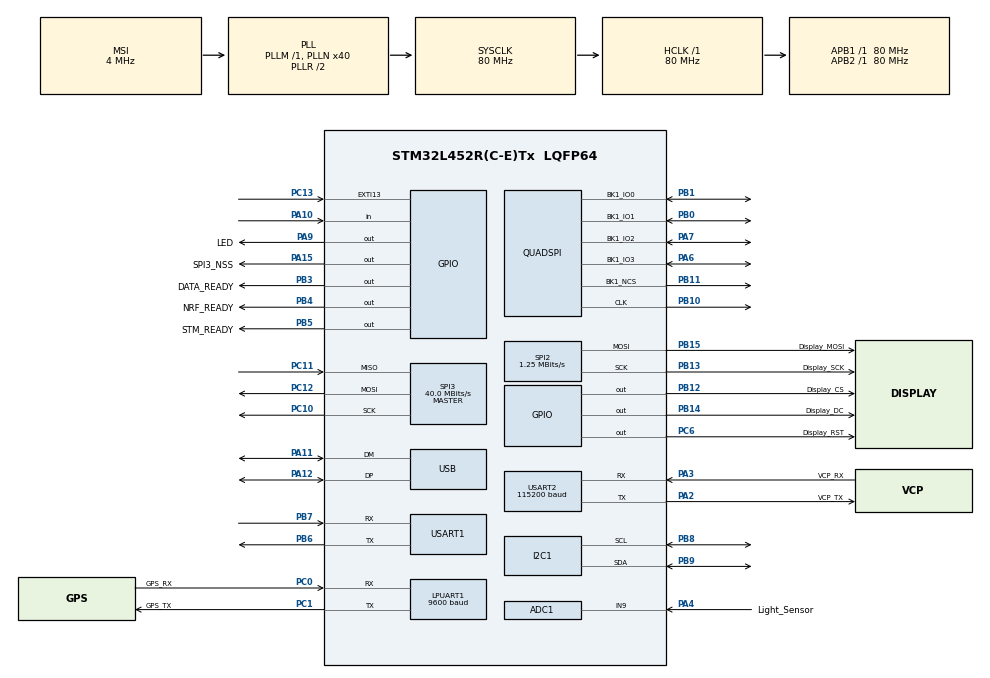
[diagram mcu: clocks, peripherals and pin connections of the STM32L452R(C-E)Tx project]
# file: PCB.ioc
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ADC1.Channel-3\#ChannelRegularConversion=ADC_CHANNEL_9
ADC1.NbrOfConversionFlag=1
ADC1.OffsetNumber-3\#ChannelRegularConversion=ADC_OFFSET_NONE
ADC1.Rank-3\#ChannelRegularConversion=1
ADC1.SamplingTime-3\#ChannelRegularConversion=ADC_SAMPLETIME_2CYCLES_5
ADC1.master=1
Dma.LPUART_RX.1.Direction=DMA_PERIPH_TO_MEMORY
Dma.LPUART_RX.1.Instance=DMA2_Channel7
Dma.LPUART_RX.1.MemDataAlignment=DMA_MDATAALIGN_BYTE
Dma.LPUART_RX.1.MemInc=DMA_MINC_ENABLE
Dma.LPUART_RX.1.Mode=DMA_CIRCULAR
Dma.LPUART_RX.1.PeriphDataAlignment=DMA_PDATAALIGN_BYTE
Dma.LPUART_RX.1.PeriphInc=DMA_PINC_DISABLE
Dma.LPUART_RX.1.Priority=DMA_PRIORITY_LOW
Dma.Request0=SPI2_TX
Dma.Request1=LPUART_RX
Dma.SPI2_TX.0.Direction=DMA_MEMORY_TO_PERIPH
Dma.SPI2_TX.0.Instance=DMA1_Channel5
Dma.SPI2_TX.0.MemDataAlignment=DMA_MDATAALIGN_BYTE
Dma.SPI2_TX.0.MemInc=DMA_MINC_ENABLE
Dma.SPI2_TX.0.Mode=DMA_NORMAL
Dma.SPI2_TX.0.PeriphDataAlignment=DMA_PDATAALIGN_BYTE
Dma.SPI2_TX.0.PeriphInc=DMA_PINC_DISABLE
Dma.SPI2_TX.0.Priority=DMA_PRIORITY_HIGH
I2C1.Timing=0x10D19CE4
LPUART1.BaudRate=9600
LPUART1.WordLength=UART_WORDLENGTH_8B
Mcu.Family=STM32L4
Mcu.Name=STM32L452R(C-E)Tx
Mcu.Package=LQFP64
NVIC.DMA1_Channel5_IRQn=true\:0\:0\:false\:false\:true\:false\:true\:true
NVIC.DMA2_Channel7_IRQn=true\:0\:0\:false\:false\:true\:false\:true\:true
NVIC.LPUART1_IRQn=true\:0\:0\:false\:false\:true\:true\:true\:true
NVIC.PriorityGroup=NVIC_PRIORITYGROUP_4
PA10.Signal=GPIO_Input
PA11.Mode=Device
PA11.Signal=USB_DM
PA12.Mode=Device
PA12.Signal=USB_DP
PA13\ (JTMS/SWDIO).Mode=Serial_Wire
PA13\ (JTMS/SWDIO).Signal=SYS_JTMS-SWDIO
PA14\ (JTCK/SWCLK).Mode=Serial_Wire
PA14\ (JTCK/SWCLK).Signal=SYS_JTCK-SWCLK
PA15\ (JTDI).GPIO_Label=SPI3_NSS
PA15\ (JTDI).Signal=GPIO_Output
PA2.GPIO_Label=VCP_TX
PA2.Mode=Asynchronous
PA2.Signal=USART2_TX
PA3.GPIO_Label=VCP_RX
PA3.Mode=Asynchronous
PA3.Signal=USART2_RX
PA4.GPIO_Label=Light_Sensor
PA4.Signal=ADCx_IN9
PA6.Mode=Single Bank 1
PA6.Signal=QUADSPI_BK1_IO3
PA7.Mode=Single Bank 1
PA7.Signal=QUADSPI_BK1_IO2
PA9.GPIO_Label=LED
PA9.Signal=GPIO_Output
PB0.Mode=Single Bank 1
PB0.Signal=QUADSPI_BK1_IO1
PB1.Mode=Single Bank 1
PB1.Signal=QUADSPI_BK1_IO0
PB10.Mode=Single Bank 1
PB10.Signal=QUADSPI_CLK
PB11.Mode=Single Bank 1
PB11.Signal=QUADSPI_BK1_NCS
PB12.GPIO_Label=Display_CS
PB12.Signal=GPIO_Output
PB13.GPIO_Label=Display_SCK
PB13.Mode=TX_Only_Simplex_Unidirect_Master
PB13.Signal=SPI2_SCK
PB14.GPIO_Label=Display_DC
PB14.Signal=GPIO_Output
PB15.GPIO_Label=Display_MOSI
PB15.Mode=TX_Only_Simplex_Unidirect_Master
PB15.Signal=SPI2_MOSI
PB3\ (JTDO/TRACESWO).GPIO_Label=DATA_READY
PB3\ (JTDO/TRACESWO).Signal=GPIO_Output
PB4\ (NJTRST).GPIO_Label=NRF_READY
PB4\ (NJTRST).Signal=GPIO_Output
PB5.GPIO_Label=STM_READY
PB5.Signal=GPIO_Output
PB6.Mode=Asynchronous
PB6.Signal=USART1_TX
PB7.Mode=Asynchronous
PB7.Signal=USART1_RX
PB8.Mode=I2C
PB8.Signal=I2C1_SCL
PB9.Mode=I2C
PB9.Signal=I2C1_SDA
PC0.GPIO_Label=GPS_RX
PC0.Mode=Asynchronous
PC0.Signal=LPUART1_RX
PC1.GPIO_Label=GPS_TX
PC1.Mode=Asynchronous
PC1.Signal=LPUART1_TX
PC10.Mode=Full_Duplex_Master
PC10.Signal=SPI3_SCK
PC11.Mode=Full_Duplex_Master
PC11.Signal=SPI3_MISO
PC12.Mode=Full_Duplex_Master
PC12.Signal=SPI3_MOSI
PC13.Signal=GPXTI13
PC6.GPIO_Label=Display_RST
PC6.Signal=GPIO_Output
ProjectManager.HeapSize=0x200
ProjectManager.StackSize=0x400
ProjectManager.TargetToolchain=STM32CubeIDE
RCC.ADCFreq_Value=48000000
RCC.AHBFreq_Value=80000000
RCC.APB1Freq_Value=80000000
RCC.APB1TimFreq_Value=80000000
RCC.APB2Freq_Value=80000000
RCC.APB2TimFreq_Value=80000000
RCC.CortexFreq_Value=80000000
RCC.HCLKFreq_Value=80000000
RCC.HSE_VALUE=8000000
RCC.HSI48_VALUE=48000000
RCC.HSI_VALUE=16000000
RCC.LPUART1CLockSelection=RCC_LPUART1CLKSOURCE_HSI
RCC.LSE_VALUE=32768
RCC.MSI_VALUE=4000000
RCC.PLLN=40
RCC.PLLSAI1N=24
RCC.SYSCLKFreq_VALUE=80000000
RCC.SYSCLKSource=RCC_SYSCLKSOURCE_PLLCLK
RCC.USBFreq_Value=48000000
RCC.VCOOutputFreq_Value=160000000
SH.ADCx_IN9.0=ADC1_IN9,IN9-Single-Ended
SPI2.BaudRatePrescaler=SPI_BAUDRATEPRESCALER_64
SPI2.CalculateBaudRate=1.25 MBits/s
SPI2.DataSize=SPI_DATASIZE_8BIT
SPI2.Direction=SPI_DIRECTION_2LINES
SPI2.Mode=SPI_MODE_MASTER
SPI2.VirtualType=VM_MASTER
SPI3.CalculateBaudRate=40.0 MBits/s
SPI3.Direction=SPI_DIRECTION_2LINES
SPI3.Mode=SPI_MODE_MASTER
SPI3.VirtualType=VM_MASTER
USART1.VirtualMode-Asynchronous=VM_ASYNC
USART2.BaudRate=115200
USART2.VirtualMode-Asynchronous=VM_ASYNC
board=custom

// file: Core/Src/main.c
/* USER CODE BEGIN Header */
/**
  ******************************************************************************
  * @file           : main.c
  * @brief          : Main program body
  ******************************************************************************
  * @attention
  *
  * Copyright (c) 2026 STMicroelectronics.
  * All rights reserved.
  *
  * This software is licensed under terms that can be found in the LICENSE file
  * in the root directory of this software component.
  * If no LICENSE file comes with this software, it is provided AS-IS.
  *
  ******************************************************************************
  */
/* USER CODE END Header */
#include "main.h"

/* USER CODE BEGIN Includes */
#include "ssd1306_fonts.h"
#include <string.h>
#include <stdio.h>
#include "ssd1306.h"
#include <stdlib.h>
#include "gps.h"
/* USER CODE END Includes */

/* USER CODE BEGIN PD */
uint16_t adcLight = 0;

extern uint32_t total_time;
extern uint32_t time_since_update;
extern float distance_traveled;
extern uint32_t last_update;
extern float distance_m(float lat1, float lon1,
        float lat2, float lon2);

// nav vars
char nav_rx; // nav byte
char nav_buffer[128];
int nav_idx = 0;
char nav_c;
int done;
int instr_idx = 0;
float dist_to_wp;

#define MAX_WAYPOINTS 200
#define MAX_STREET_LEN 32
#define MAX_DIR_LEN 16
#define MAX_DIST_LEN 16

float lat[MAX_WAYPOINTS];
float lon[MAX_WAYPOINTS];
char direction[MAX_WAYPOINTS][MAX_DIR_LEN];
char street[MAX_WAYPOINTS][MAX_STREET_LEN];
char distance_to_turn[MAX_WAYPOINTS][MAX_DIST_LEN];

int waypoint_count = 0;
int arrived_flag = 0;
int first_run = 1;
static int scroll_x = 128; // right edge

int final_time = 0;
float final_dist = 0.0;

//extern UART_HandleTypeDef hlpuart1; // might not need

uint8_t rx_byte;

// 8x8 bitmap for right arrow
uint8_t arrow_right[8] = {
    0b00010000,
    0b00011000,
    0b00001100,
    0b11111110,
    0b11111110,
    0b00001100,
    0b00011000,
    0b00010000
};

uint8_t arrow_left[8] = {
    0b00001000,
    0b00011000,
    0b00110000,
    0b01111111,
    0b01111111,
    0b00110000,
    0b00011000,
    0b00001000
};

// 8x8 bitmap for straight/up arrow
uint8_t arrow_up[8] = {
    0b00011000,
    0b00111100,
    0b01111110,
    0b00011000,
    0b00011000,
    0b00011000,
    0b00011000,
    0b00000000
};
/* USER CODE END PD */

ADC_HandleTypeDef hadc1;

I2C_HandleTypeDef hi2c1;

UART_HandleTypeDef hlpuart1; // might not need?
UART_HandleTypeDef huart1;
UART_HandleTypeDef huart2;
DMA_HandleTypeDef hdma_lpuart_rx;

QSPI_HandleTypeDef hqspi;

SPI_HandleTypeDef hspi2;
SPI_HandleTypeDef hspi3;
DMA_HandleTypeDef hdma_spi2_tx;

PCD_HandleTypeDef hpcd_USB_FS;

void SystemClock_Config(void);
void PeriphCommonClock_Config(void);
static void MX_GPIO_Init(void);
static void MX_DMA_Init(void);
static void MX_SPI2_Init(void);
static void MX_I2C1_Init(void);
static void MX_LPUART1_UART_Init(void);
static void MX_USART1_UART_Init(void);
static void MX_USART2_UART_Init(void);
static void MX_QUADSPI_Init(void);
static void MX_SPI3_Init(void);
static void MX_USB_PCD_Init(void);
static void MX_ADC1_Init(void);
/* USER CODE BEGIN PFP */

void Display_Write(uint8_t cmd) {
    HAL_GPIO_WritePin(DISP_DC_PORT, DISP_DC, GPIO_PIN_RESET); // command mode
    HAL_GPIO_WritePin(DISP_CS_PORT, DISP_CS, GPIO_PIN_RESET); // select display
    HAL_SPI_Transmit(&hspi2, &cmd, 1, HAL_MAX_DELAY); // send command
    HAL_GPIO_WritePin(DISP_CS_PORT, DISP_CS, GPIO_PIN_SET); // deselect display
}

void ReadSensors() {
	// need to reconfigure every time to use blocking conversion; no DMA somehow
	HAL_ADC_Start(&hadc1);
	HAL_ADC_PollForConversion(&hadc1, HAL_MAX_DELAY);
	adcLight = HAL_ADC_GetValue(&hadc1);
	HAL_ADC_Stop(&hadc1);
}

void Update_Brightness(uint32_t adcLight)
{
    const uint32_t ADC_DARK  = 1300;
    const uint32_t ADC_BRIGHT = 1400;

    const uint8_t BRIGHTNESS_MIN = 0x00;  // calibrate
    const uint8_t BRIGHTNESS_MAX = 0xFF;

    uint8_t brightness;

    if (adcLight <= ADC_DARK)
    {
    	brightness = BRIGHTNESS_MIN;
    }
    else if (adcLight >= ADC_BRIGHT)
    {
        brightness = BRIGHTNESS_MAX;
    }
    else
    {
        brightness = BRIGHTNESS_MIN + (uint8_t)((adcLight - ADC_DARK) * (BRIGHTNESS_MAX - BRIGHTNESS_MIN) /
                (ADC_BRIGHT - ADC_DARK)); // could optimize
    }

    Display_Write(0x81); // update brightness
    Display_Write(brightness); // update to level
}

void Display_Nav() {

	ssd1306_FillRectangle(0, 50, 127, 58, Black);

//		 find substrings and print matching arrow
	    if (strstr(direction[instr_idx], "right"))
	    	ssd1306_DrawBitmap(35, 50, arrow_right, 8, 8, White);
	    else if (strstr(direction[instr_idx], "left"))
	    	ssd1306_DrawBitmap(35, 50, arrow_left, 8, 8, White);
	    else if (strstr(direction[instr_idx], "straight") || strstr(direction[instr_idx], "continue"))
	    	ssd1306_DrawBitmap(35, 50, arrow_up, 8, 8, White);
//	     else?
	    ssd1306_DrawBitmap(35, 50, arrow_right, 8, 8, White); // get rid of this

	int char_width = 6;
	int screen_width = 128;
	int left_margin = 50;
	int gap = 20;

	char msg_buffer[64];
	char dist_buff[32];
	if (latitude == 0) {
		snprintf(dist_buff, sizeof(dist_buff), "?");
	} else {
		snprintf(dist_buff, sizeof(dist_buff), "%.0fm", dist_to_wp);
	}
	snprintf(msg_buffer, sizeof(msg_buffer), "%s %s", dist_buff, street[instr_idx]);
	char* msg = msg_buffer;

	if (!arrived_flag) {
//			char* msg = "Mitch Daniels Boulevard";

			int msg_len = strlen(msg);
			int text_width = msg_len * char_width;
			int cycle_width = text_width + gap;

			for (int copy = 0; copy < 2; copy++) {
				int start_pos = scroll_x + (copy * cycle_width);

				for (int i = 0; i < msg_len; i++) {
					int char_x = start_pos + (i * char_width);
					if (char_x >= left_margin && char_x <= (screen_width - char_width)) {
						ssd1306_SetCursor(char_x, 50);
						ssd1306_WriteChar(msg[i], Font_6x8, White);
					}
				}
			}

			scroll_x--;

			if (scroll_x <= (left_margin - cycle_width)) {
				scroll_x = left_margin;
			}

	} else {
		ssd1306_SetCursor(35, 50);
		ssd1306_WriteString("Arrived", Font_6x8, White);
		if (final_time == 0) {
			// total_time and distance_traveled lowkey keep incrementing -- stop them
			final_time = total_time;
			final_dist = distance_traveled;
		}
	}

}

void Display_Info() {

	if ((latitude == 0.0)) {
		// this is kind of jank and would need to change if display fields are edited - maybe make flags
		// also add clearing the line before writing dashed lines to completely overwrite text
		 char buf[32];
		 sprintf(buf, "----------------");
		 ssd1306_SetCursor(35, 40);
		 ssd1306_WriteString(buf, Font_6x8, White);
	} else {
		 // display coords on line 3
		 char buf[32];
		 sprintf(buf, "%.1f|%.1f ", latitude, longitude);
		 ssd1306_SetCursor(35, 40);
		 ssd1306_WriteString(buf, Font_6x8, White);
	}

    // display time and speed on lines 1/2
	 char buf[32];
//	 sprintf(buf, "%02d:%02d:%02d", hour, minute, second);
	 sprintf(buf, "%02d:%02d", hour, minute);
	 ssd1306_SetCursor(35, 20);
	 ssd1306_WriteString(buf, Font_6x8, White);

//	 sprintf(buf, "%.2f mph", speed_mph);
//	 ssd1306_SetCursor(35, 30);
//	 ssd1306_WriteString(buf, Font_6x8, White);

	 if (!arrived_flag) {
		 sprintf(buf, "%03lu:%.2f", total_time, distance_traveled);
		 ssd1306_SetCursor(35, 30);
		 ssd1306_WriteString(buf, Font_6x8, White);
	 } else {
		 sprintf(buf, "%03d:%.2f", final_time, final_dist);
		 ssd1306_SetCursor(35, 30);
		 ssd1306_WriteString(buf, Font_6x8, White);
	 }

	 // display number of satellites and altitude on lines 3/4
//	 sprintf(buf, "Sat: %d", satellites);
//	 ssd1306_SetCursor(35, 40);
//	 ssd1306_WriteString(buf, Font_6x8, White)
 //	 sprintf(buf, "Alt: %.1f", altitude_m);
 //	 ssd1306_SetCursor(35, 50);
 //	 ssd1306_WriteString(buf, Font_6x8, White);

	 Display_Nav(); // row 4 (50)

	 ssd1306_UpdateScreen();

}

void process_instruction(char *line)
{
    if (strcmp(line, "<END>") == 0)
    {
        return;
    }

    if (waypoint_count >= MAX_WAYPOINTS)
        return;

    char *token;
    float temp_lat, temp_lon;
    char temp_dir[MAX_DIR_LEN];
    char temp_street[MAX_STREET_LEN];
    char temp_dist[MAX_DIST_LEN];

    // split string into fields
    token = strtok(line, ",");
    temp_lat = atof(token);

    token = strtok(NULL, ",");
    temp_lon = atof(token);

    token = strtok(NULL, ",");
    strncpy(temp_dir, token, MAX_DIR_LEN-1);
    temp_dir[MAX_DIR_LEN-1] = '\0';

    token = strtok(NULL, ",");
    strncpy(temp_dist, token, MAX_DIST_LEN-1);
    temp_dist[MAX_DIST_LEN-1] = '\0';

    token = strtok(NULL, ",");
    strncpy(temp_street, token, MAX_STREET_LEN-1);
    temp_street[MAX_STREET_LEN-1] = '\0';

    // Store in arrays
    lat[waypoint_count] = temp_lat;
    lon[waypoint_count] = temp_lon;
    strncpy(direction[waypoint_count], temp_dir, MAX_DIR_LEN);
    strncpy(distance_to_turn[waypoint_count], temp_dist, MAX_DIST_LEN);
    strncpy(street[waypoint_count], temp_street, MAX_STREET_LEN);

    waypoint_count++;
}

void Update_Route() {
	float threshold = 28.0; // vary as needed based on travel speed - maybe make global

	for (int i = 0; i < waypoint_count; i++) {
		dist_to_wp = distance_m(latitude, longitude, lat[i], lon[i]);
		if ((dist_to_wp <= threshold) && (latitude != 0)) {
			if (i+1 < waypoint_count) {
				instr_idx = i + 1;
				dist_to_wp = distance_m(latitude, longitude, lat[i+1], lon[i+1]);
			} else {
				arrived_flag = 1;
			}
			break;
		} else {
			dist_to_wp = distance_m(latitude, longitude, lat[instr_idx], lon[instr_idx]);
		}
	}
}
/* USER CODE END PFP */

int main(void)
{

  /* MCU Configuration--------------------------------------------------------*/

  /* Reset of all peripherals, Initializes the Flash interface and the Systick. */
  HAL_Init();

  /* Configure the system clock */
  SystemClock_Config();

  /* Configure the peripherals common clocks */
  PeriphCommonClock_Config();

  /* Initialize all configured peripherals */
  MX_GPIO_Init();
  MX_DMA_Init();
  MX_SPI2_Init();
  MX_I2C1_Init();
  MX_LPUART1_UART_Init();
  MX_USART1_UART_Init();
  MX_USART2_UART_Init();
  MX_QUADSPI_Init();
  MX_SPI3_Init();
  MX_USB_PCD_Init();
  MX_ADC1_Init();
  /* USER CODE BEGIN 2 */

  // initialize display
  ssd1306_Init();

  last_update = HAL_GetTick();

//  // initialize GPS/DMA
  HAL_UART_Receive_DMA(&hlpuart1, gps_rx_buf, GPS_RX_BUF_SIZE);
  __HAL_UART_ENABLE_IT(&hlpuart1, UART_IT_IDLE);
  /* USER CODE END 2 */

  /* Infinite loop */
  /* USER CODE BEGIN WHILE */
  // get route
   done = 0;// 0 to turn on nav

   while(!done) {
 	HAL_UART_Receive(&hlpuart1, (uint8_t*)&nav_c, 1, HAL_MAX_DELAY);

 	  if (nav_c == '\n')
 	  {
 		  nav_buffer[nav_idx] = '\0';
 		  process_instruction(nav_buffer);
 		  nav_idx = 0;
 		  memset(nav_buffer, 0, sizeof(nav_buffer));
 	  }
 	  else
 	  {
 		  if(nav_idx < sizeof(nav_buffer)-1)
 			  nav_buffer[nav_idx++] = nav_c;
 	  }

 	  if (strcmp(nav_buffer, "<END>") == 0)
 	  {
 	   done = 1;
 	  }
   }

  while (1)
  {
    /* USER CODE END WHILE */

    /* USER CODE BEGIN 3 */

	  Update_Route();
	  	Display_Info();
	  	ReadSensors(); // just light sensor now
//	  	Update_Brightness(adcLight);

	  	Display_Write(0x81); // update brightness
	  	Display_Write(0xFF); // update to level

	  	// ------------------- testing

	  	 // display light and touch sensor values for observation
//	  	 char buf[32];
//	  	 sprintf(buf, "%d", adcLight);
//	  	 ssd1306_SetCursor(35, 30);
//	  	 ssd1306_WriteString(buf, Font_6x8, White);
//
	  	 ssd1306_UpdateScreen();
	  	 HAL_Delay(30);

	  	// blink LED
//	  HAL_GPIO_WritePin(LED_GPIO_Port, LED_Pin, GPIO_PIN_SET);
//	  HAL_Delay(500);
//	  HAL_GPIO_WritePin(LED_GPIO_Port, LED_Pin, GPIO_PIN_RESET);
//	  HAL_Delay(500);

  }
  /* USER CODE END 3 */
}

void SystemClock_Config(void)
{
  RCC_OscInitTypeDef RCC_OscInitStruct = {0};
  RCC_ClkInitTypeDef RCC_ClkInitStruct = {0};

  /** Configure the main internal regulator output voltage
  */
  if (HAL_PWREx_ControlVoltageScaling(PWR_REGULATOR_VOLTAGE_SCALE1) != HAL_OK)
  {
    Error_Handler();
  }

  /** Initializes the RCC Oscillators according to the specified parameters
  * in the RCC_OscInitTypeDef structure.
  */
  RCC_OscInitStruct.OscillatorType = RCC_OSCILLATORTYPE_HSI|RCC_OSCILLATORTYPE_MSI;
  RCC_OscInitStruct.HSIState = RCC_HSI_ON;
  RCC_OscInitStruct.HSICalibrationValue = 64;
  RCC_OscInitStruct.MSIState = RCC_MSI_ON;
  RCC_OscInitStruct.MSICalibrationValue = 0;
  RCC_OscInitStruct.MSIClockRange = RCC_MSIRANGE_6;
  RCC_OscInitStruct.PLL.PLLState = RCC_PLL_ON;
  RCC_OscInitStruct.PLL.PLLSource = RCC_PLLSOURCE_MSI;
  RCC_OscInitStruct.PLL.PLLM = 1;
  RCC_OscInitStruct.PLL.PLLN = 40;
  RCC_OscInitStruct.PLL.PLLP = RCC_PLLP_DIV7;
  RCC_OscInitStruct.PLL.PLLQ = RCC_PLLQ_DIV2;
  RCC_OscInitStruct.PLL.PLLR = RCC_PLLR_DIV2;
  if (HAL_RCC_OscConfig(&RCC_OscInitStruct) != HAL_OK)
  {
    Error_Handler();
  }

  /** Initializes the CPU, AHB and APB buses clocks
  */
  RCC_ClkInitStruct.ClockType = RCC_CLOCKTYPE_HCLK|RCC_CLOCKTYPE_SYSCLK
                              |RCC_CLOCKTYPE_PCLK1|RCC_CLOCKTYPE_PCLK2;
  RCC_ClkInitStruct.SYSCLKSource = RCC_SYSCLKSOURCE_PLLCLK;
  RCC_ClkInitStruct.AHBCLKDivider = RCC_SYSCLK_DIV1;
  RCC_ClkInitStruct.APB1CLKDivider = RCC_HCLK_DIV1;
  RCC_ClkInitStruct.APB2CLKDivider = RCC_HCLK_DIV1;

  if (HAL_RCC_ClockConfig(&RCC_ClkInitStruct, FLASH_LATENCY_4) != HAL_OK)
  {
    Error_Handler();
  }
}

void PeriphCommonClock_Config(void)
{
  RCC_PeriphCLKInitTypeDef PeriphClkInit = {0};

  /** Initializes the peripherals clock
  */
  PeriphClkInit.PeriphClockSelection = RCC_PERIPHCLK_USB|RCC_PERIPHCLK_ADC;
  PeriphClkInit.AdcClockSelection = RCC_ADCCLKSOURCE_PLLSAI1;
  PeriphClkInit.UsbClockSelection = RCC_USBCLKSOURCE_PLLSAI1;
  PeriphClkInit.PLLSAI1.PLLSAI1Source = RCC_PLLSOURCE_MSI;
  PeriphClkInit.PLLSAI1.PLLSAI1M = 1;
  PeriphClkInit.PLLSAI1.PLLSAI1N = 24;
  PeriphClkInit.PLLSAI1.PLLSAI1P = RCC_PLLP_DIV7;
  PeriphClkInit.PLLSAI1.PLLSAI1Q = RCC_PLLQ_DIV2;
  PeriphClkInit.PLLSAI1.PLLSAI1R = RCC_PLLR_DIV2;
  PeriphClkInit.PLLSAI1.PLLSAI1ClockOut = RCC_PLLSAI1_48M2CLK|RCC_PLLSAI1_ADC1CLK;
  if (HAL_RCCEx_PeriphCLKConfig(&PeriphClkInit) != HAL_OK)
  {
    Error_Handler();
  }
}

static void MX_ADC1_Init(void)
{

  ADC_ChannelConfTypeDef sConfig = {0};

  /** Common config
  */
  hadc1.Instance = ADC1;
  hadc1.Init.ClockPrescaler = ADC_CLOCK_ASYNC_DIV1;
  hadc1.Init.Resolution = ADC_RESOLUTION_12B;
  hadc1.Init.DataAlign = ADC_DATAALIGN_RIGHT;
  hadc1.Init.ScanConvMode = ADC_SCAN_DISABLE;
  hadc1.Init.EOCSelection = ADC_EOC_SINGLE_CONV;
  hadc1.Init.LowPowerAutoWait = DISABLE;
  hadc1.Init.ContinuousConvMode = DISABLE;
  hadc1.Init.NbrOfConversion = 1;
  hadc1.Init.DiscontinuousConvMode = DISABLE;
  hadc1.Init.ExternalTrigConv = ADC_SOFTWARE_START;
  hadc1.Init.ExternalTrigConvEdge = ADC_EXTERNALTRIGCONVEDGE_NONE;
  hadc1.Init.DMAContinuousRequests = DISABLE;
  hadc1.Init.Overrun = ADC_OVR_DATA_PRESERVED;
  hadc1.Init.OversamplingMode = DISABLE;
  if (HAL_ADC_Init(&hadc1) != HAL_OK)
  {
    Error_Handler();
  }

  /** Configure Regular Channel
  */
  sConfig.Channel = ADC_CHANNEL_9;
  sConfig.Rank = ADC_REGULAR_RANK_1;
  sConfig.SamplingTime = ADC_SAMPLETIME_2CYCLES_5;
  sConfig.SingleDiff = ADC_SINGLE_ENDED;
  sConfig.OffsetNumber = ADC_OFFSET_NONE;
  sConfig.Offset = 0;
  if (HAL_ADC_ConfigChannel(&hadc1, &sConfig) != HAL_OK)
  {
    Error_Handler();
  }

}

static void MX_I2C1_Init(void)
{

  hi2c1.Instance = I2C1;
  hi2c1.Init.Timing = 0x10D19CE4;
  hi2c1.Init.OwnAddress1 = 0;
  hi2c1.Init.AddressingMode = I2C_ADDRESSINGMODE_7BIT;
  hi2c1.Init.DualAddressMode = I2C_DUALADDRESS_DISABLE;
  hi2c1.Init.OwnAddress2 = 0;
  hi2c1.Init.OwnAddress2Masks = I2C_OA2_NOMASK;
  hi2c1.Init.GeneralCallMode = I2C_GENERALCALL_DISABLE;
  hi2c1.Init.NoStretchMode = I2C_NOSTRETCH_DISABLE;
  if (HAL_I2C_Init(&hi2c1) != HAL_OK)
  {
    Error_Handler();
  }

  /** Configure Analogue filter
  */
  if (HAL_I2CEx_ConfigAnalogFilter(&hi2c1, I2C_ANALOGFILTER_ENABLE) != HAL_OK)
  {
    Error_Handler();
  }

  /** Configure Digital filter
  */
  if (HAL_I2CEx_ConfigDigitalFilter(&hi2c1, 0) != HAL_OK)
  {
    Error_Handler();
  }

}

static void MX_LPUART1_UART_Init(void)
{

  hlpuart1.Instance = LPUART1;
  hlpuart1.Init.BaudRate = 9600;
  hlpuart1.Init.WordLength = UART_WORDLENGTH_8B;
  hlpuart1.Init.StopBits = UART_STOPBITS_1;
  hlpuart1.Init.Parity = UART_PARITY_NONE;
  hlpuart1.Init.Mode = UART_MODE_TX_RX;
  hlpuart1.Init.HwFlowCtl = UART_HWCONTROL_NONE;
  hlpuart1.Init.OneBitSampling = UART_ONE_BIT_SAMPLE_DISABLE;
  hlpuart1.AdvancedInit.AdvFeatureInit = UART_ADVFEATURE_NO_INIT;
  if (HAL_UART_Init(&hlpuart1) != HAL_OK)
  {
    Error_Handler();
  }

}

static void MX_USART1_UART_Init(void)
{

  huart1.Instance = USART1;
  huart1.Init.BaudRate = 115200;
  huart1.Init.WordLength = UART_WORDLENGTH_8B;
  huart1.Init.StopBits = UART_STOPBITS_1;
  huart1.Init.Parity = UART_PARITY_NONE;
  huart1.Init.Mode = UART_MODE_TX_RX;
  huart1.Init.HwFlowCtl = UART_HWCONTROL_NONE;
  huart1.Init.OverSampling = UART_OVERSAMPLING_16;
  huart1.Init.OneBitSampling = UART_ONE_BIT_SAMPLE_DISABLE;
  huart1.AdvancedInit.AdvFeatureInit = UART_ADVFEATURE_NO_INIT;
  if (HAL_UART_Init(&huart1) != HAL_OK)
  {
    Error_Handler();
  }

}

static void MX_USART2_UART_Init(void)
{

  huart2.Instance = USART2;
  huart2.Init.BaudRate = 115200;
  huart2.Init.WordLength = UART_WORDLENGTH_8B;
  huart2.Init.StopBits = UART_STOPBITS_1;
  huart2.Init.Parity = UART_PARITY_NONE;
  huart2.Init.Mode = UART_MODE_TX_RX;
  huart2.Init.HwFlowCtl = UART_HWCONTROL_NONE;
  huart2.Init.OverSampling = UART_OVERSAMPLING_16;
  huart2.Init.OneBitSampling = UART_ONE_BIT_SAMPLE_DISABLE;
  huart2.AdvancedInit.AdvFeatureInit = UART_ADVFEATURE_NO_INIT;
  if (HAL_UART_Init(&huart2) != HAL_OK)
  {
    Error_Handler();
  }

}

static void MX_QUADSPI_Init(void)
{

  /* QUADSPI parameter configuration*/
  hqspi.Instance = QUADSPI;
  hqspi.Init.ClockPrescaler = 255;
  hqspi.Init.FifoThreshold = 1;
  hqspi.Init.SampleShifting = QSPI_SAMPLE_SHIFTING_NONE;
  hqspi.Init.FlashSize = 1;
  hqspi.Init.ChipSelectHighTime = QSPI_CS_HIGH_TIME_1_CYCLE;
  hqspi.Init.ClockMode = QSPI_CLOCK_MODE_0;
  hqspi.Init.FlashID = QSPI_FLASH_ID_1;
  hqspi.Init.DualFlash = QSPI_DUALFLASH_DISABLE;
  if (HAL_QSPI_Init(&hqspi) != HAL_OK)
  {
    Error_Handler();
  }

}

static void MX_SPI2_Init(void)
{

  /* SPI2 parameter configuration*/
  hspi2.Instance = SPI2;
  hspi2.Init.Mode = SPI_MODE_MASTER;
  hspi2.Init.Direction = SPI_DIRECTION_2LINES;
  hspi2.Init.DataSize = SPI_DATASIZE_8BIT;
  hspi2.Init.CLKPolarity = SPI_POLARITY_LOW;
  hspi2.Init.CLKPhase = SPI_PHASE_1EDGE;
  hspi2.Init.NSS = SPI_NSS_SOFT;
  hspi2.Init.BaudRatePrescaler = SPI_BAUDRATEPRESCALER_64;
  hspi2.Init.FirstBit = SPI_FIRSTBIT_MSB;
  hspi2.Init.TIMode = SPI_TIMODE_DISABLE;
  hspi2.Init.CRCCalculation = SPI_CRCCALCULATION_DISABLE;
  hspi2.Init.CRCPolynomial = 7;
  hspi2.Init.CRCLength = SPI_CRC_LENGTH_DATASIZE;
  hspi2.Init.NSSPMode = SPI_NSS_PULSE_ENABLE;
  if (HAL_SPI_Init(&hspi2) != HAL_OK)
  {
    Error_Handler();
  }

}

static void MX_SPI3_Init(void)
{

  /* SPI3 parameter configuration*/
  hspi3.Instance = SPI3;
  hspi3.Init.Mode = SPI_MODE_MASTER;
  hspi3.Init.Direction = SPI_DIRECTION_2LINES;
  hspi3.Init.DataSize = SPI_DATASIZE_4BIT;
  hspi3.Init.CLKPolarity = SPI_POLARITY_LOW;
  hspi3.Init.CLKPhase = SPI_PHASE_1EDGE;
  hspi3.Init.NSS = SPI_NSS_SOFT;
  hspi3.Init.BaudRatePrescaler = SPI_BAUDRATEPRESCALER_2;
  hspi3.Init.FirstBit = SPI_FIRSTBIT_MSB;
  hspi3.Init.TIMode = SPI_TIMODE_DISABLE;
  hspi3.Init.CRCCalculation = SPI_CRCCALCULATION_DISABLE;
  hspi3.Init.CRCPolynomial = 7;
  hspi3.Init.CRCLength = SPI_CRC_LENGTH_DATASIZE;
  hspi3.Init.NSSPMode = SPI_NSS_PULSE_ENABLE;
  if (HAL_SPI_Init(&hspi3) != HAL_OK)
  {
    Error_Handler();
  }

}

static void MX_USB_PCD_Init(void)
{

  hpcd_USB_FS.Instance = USB;
  hpcd_USB_FS.Init.dev_endpoints = 8;
  hpcd_USB_FS.Init.speed = PCD_SPEED_FULL;
  hpcd_USB_FS.Init.phy_itface = PCD_PHY_EMBEDDED;
  hpcd_USB_FS.Init.Sof_enable = DISABLE;
  hpcd_USB_FS.Init.low_power_enable = DISABLE;
  hpcd_USB_FS.Init.lpm_enable = DISABLE;
  hpcd_USB_FS.Init.battery_charging_enable = DISABLE;
  if (HAL_PCD_Init(&hpcd_USB_FS) != HAL_OK)
  {
    Error_Handler();
  }

}

static void MX_DMA_Init(void)
{

  /* DMA controller clock enable */
  __HAL_RCC_DMA1_CLK_ENABLE();
  __HAL_RCC_DMA2_CLK_ENABLE();

  /* DMA interrupt init */
  /* DMA1_Channel5_IRQn interrupt configuration */
  HAL_NVIC_SetPriority(DMA1_Channel5_IRQn, 0, 0);
  HAL_NVIC_EnableIRQ(DMA1_Channel5_IRQn);
  /* DMA2_Channel7_IRQn interrupt configuration */
  HAL_NVIC_SetPriority(DMA2_Channel7_IRQn, 0, 0);
  HAL_NVIC_EnableIRQ(DMA2_Channel7_IRQn);

}

static void MX_GPIO_Init(void)
{
  GPIO_InitTypeDef GPIO_InitStruct = {0};

  /* GPIO Ports Clock Enable */
  __HAL_RCC_GPIOC_CLK_ENABLE();
  __HAL_RCC_GPIOA_CLK_ENABLE();
  __HAL_RCC_GPIOB_CLK_ENABLE();

  /*Configure GPIO pin Output Level */
  HAL_GPIO_WritePin(GPIOB, Display_CS_Pin|Display_DC_Pin|DATA_READY_Pin|NRF_READY_Pin
                          |STM_READY_Pin, GPIO_PIN_RESET);

  /*Configure GPIO pin Output Level */
  HAL_GPIO_WritePin(Display_RST_GPIO_Port, Display_RST_Pin, GPIO_PIN_RESET);

  /*Configure GPIO pin Output Level */
  HAL_GPIO_WritePin(GPIOA, LED_Pin|SPI3_NSS_Pin, GPIO_PIN_RESET);

  /*Configure GPIO pin : PC13 */
  GPIO_InitStruct.Pin = GPIO_PIN_13;
  GPIO_InitStruct.Mode = GPIO_MODE_IT_RISING;
  GPIO_InitStruct.Pull = GPIO_NOPULL;
  HAL_GPIO_Init(GPIOC, &GPIO_InitStruct);

  /*Configure GPIO pins : Display_CS_Pin Display_DC_Pin DATA_READY_Pin NRF_READY_Pin
                           STM_READY_Pin */
  GPIO_InitStruct.Pin = Display_CS_Pin|Display_DC_Pin|DATA_READY_Pin|NRF_READY_Pin
                          |STM_READY_Pin;
  GPIO_InitStruct.Mode = GPIO_MODE_OUTPUT_PP;
  GPIO_InitStruct.Pull = GPIO_NOPULL;
  GPIO_InitStruct.Speed = GPIO_SPEED_FREQ_LOW;
  HAL_GPIO_Init(GPIOB, &GPIO_InitStruct);

  /*Configure GPIO pin : Display_RST_Pin */
  GPIO_InitStruct.Pin = Display_RST_Pin;
  GPIO_InitStruct.Mode = GPIO_MODE_OUTPUT_PP;
  GPIO_InitStruct.Pull = GPIO_NOPULL;
  GPIO_InitStruct.Speed = GPIO_SPEED_FREQ_LOW;
  HAL_GPIO_Init(Display_RST_GPIO_Port, &GPIO_InitStruct);

  /*Configure GPIO pins : LED_Pin SPI3_NSS_Pin */
  GPIO_InitStruct.Pin = LED_Pin|SPI3_NSS_Pin;
  GPIO_InitStruct.Mode = GPIO_MODE_OUTPUT_PP;
  GPIO_InitStruct.Pull = GPIO_NOPULL;
  GPIO_InitStruct.Speed = GPIO_SPEED_FREQ_LOW;
  HAL_GPIO_Init(GPIOA, &GPIO_InitStruct);

  /*Configure GPIO pin : PA10 */
  GPIO_InitStruct.Pin = GPIO_PIN_10;
  GPIO_InitStruct.Mode = GPIO_MODE_INPUT;
  GPIO_InitStruct.Pull = GPIO_NOPULL;
  HAL_GPIO_Init(GPIOA, &GPIO_InitStruct);

}

void Error_Handler(void)
{
  __disable_irq();
  while (1)
  {
  }
}
